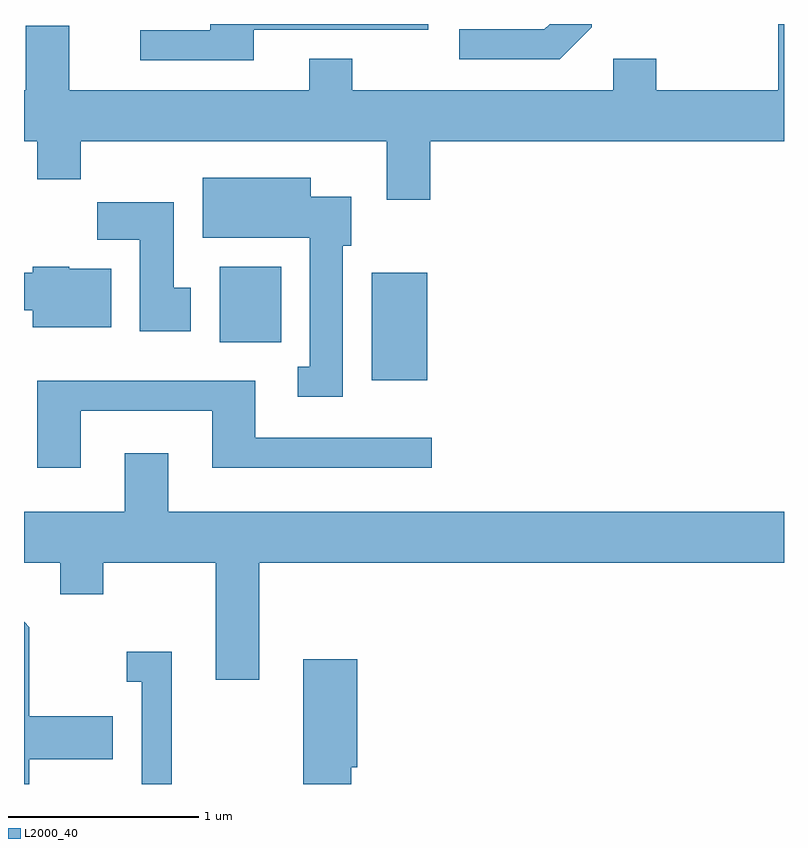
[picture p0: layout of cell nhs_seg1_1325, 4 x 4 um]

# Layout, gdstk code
import gdstk
lib = gdstk.Library(unit=1e-6, precision=1e-09)
def R(c, l, rs):  # rectangles x0, y0, x1, y1
    for r in rs: c.add(gdstk.rectangle(r[:2], r[2:], *l))
def P(c, l, *ps):  # polygons
    for p in ps: c.add(gdstk.Polygon(p, *l))
L2000_40 = (2000, 40)

nhs_seg1_1325 = lib.new_cell('nhs_seg1_1325')
R(nhs_seg1_1325, L2000_40, [(227.441,933.836,227.734,934.404), (226.641,934.036,226.964,934.434)])
P(nhs_seg1_1325, L2000_40, [(227.749,935.096),(229.611,935.096),(229.611,935.712),(229.581,935.712),(229.581,935.364),(228.939,935.364),(228.939,935.529),(228.711,935.529),(228.711,935.364),(227.339,935.364),(227.339,935.529),(227.111,935.529),(227.111,935.364),(225.849,935.364),(225.849,935.704),(225.621,935.704),(225.621,935.364),(225.611,935.364),(225.611,935.096),(225.681,935.096),(225.681,934.896),(225.909,934.896),(225.909,935.096),(227.521,935.096),(227.521,934.786),(227.749,934.786)],
  [(228.599,935.694),(228.599,935.712),(228.377,935.712),(228.349,935.684),(227.903,935.684),(227.903,935.526),(228.432,935.526)],
  [(226.819,935.681),(227.739,935.681),(227.739,935.712),(226.591,935.712),(226.591,935.679),(226.223,935.679),(226.223,935.521),(226.819,935.521)],
  [(227.289,934.546),(227.334,934.546),(227.334,934.804),(227.119,934.804),(227.119,934.904),(226.551,934.904),(226.551,934.586),(227.116,934.586),(227.116,933.909),(227.053,933.909),(227.053,933.751),(227.289,933.751)],
  [(226.489,934.324),(226.399,934.324),(226.399,934.774),(225.996,934.774),(225.996,934.576),(226.221,934.576),(226.221,934.096),(226.489,934.096)],
  [(226.069,934.424),(225.85,934.424),(225.85,934.434),(225.656,934.434),(225.656,934.404),(225.611,934.404),(225.611,934.206),(225.656,934.206),(225.656,934.116),(226.069,934.116)],
  [(225.909,933.676),(226.601,933.676),(226.601,933.376),(227.758,933.376),(227.758,933.534),(226.829,933.534),(226.829,933.834),(225.681,933.834),(225.681,933.376),(225.909,933.376)],
  [(226.849,932.876),(229.611,932.876),(229.611,933.144),(226.369,933.144),(226.369,933.454),(226.141,933.454),(226.141,933.144),(225.611,933.144),(225.611,932.876),(225.801,932.876),(225.801,932.711),(226.029,932.711),(226.029,932.876),(226.621,932.876),(226.621,932.261),(226.849,932.261)],
  [(225.639,931.841),(226.079,931.841),(226.079,932.069),(225.639,932.069),(225.639,932.537),(225.611,932.565),(225.611,931.712),(225.639,931.712)],
  [(226.389,932.409),(226.153,932.409),(226.153,932.251),(226.231,932.251),(226.231,931.712),(226.389,931.712)],
  [(227.334,931.801),(227.364,931.801),(227.364,932.369),(227.081,932.369),(227.081,931.712),(227.334,931.712)])

lib.write_gds('nhs_seg1_1325.gds')
